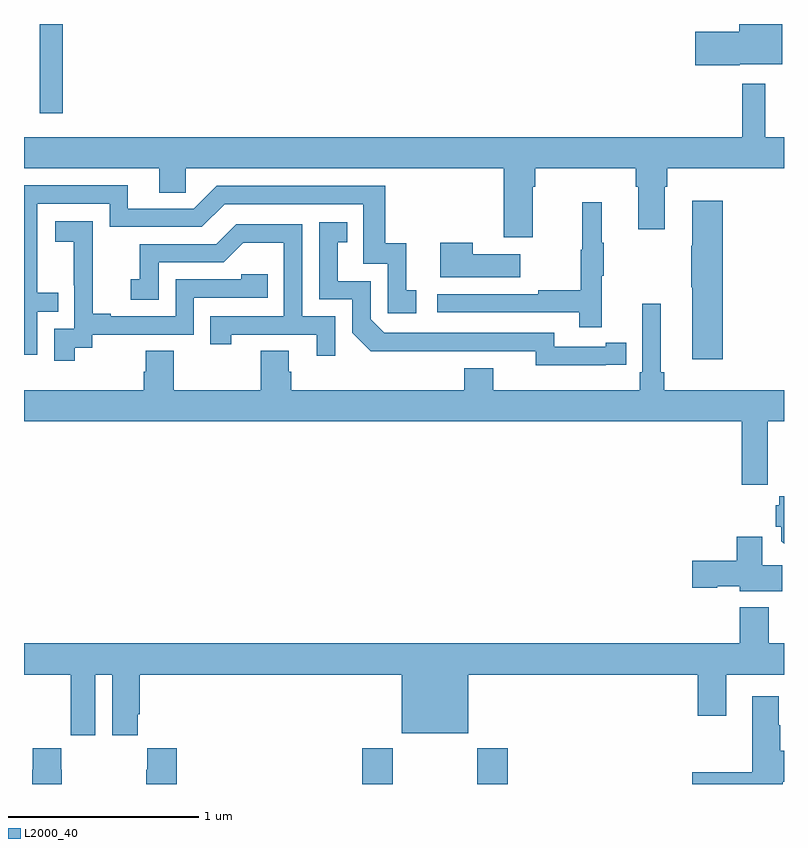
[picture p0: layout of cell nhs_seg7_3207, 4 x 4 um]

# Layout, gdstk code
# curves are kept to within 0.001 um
import gdstk
lib = gdstk.Library(unit=1e-6, precision=1e-09)
def R(c, l, rs):  # rectangles x0, y0, x1, y1
    for r in rs: c.add(gdstk.rectangle(r[:2], r[2:], *l))
def P(c, l, *ps):  # polygons
    for p in ps: c.add(gdstk.Polygon(p, *l))
L2000_40 = (2000, 40)

nhs_seg7_3207 = lib.new_cell('nhs_seg7_3207')
R(nhs_seg7_3207, L2000_40, [(316.781,1040,316.941,1040.188), (317.386,1040,317.546,1040.188), (315.083,1043.529,315.205,1044)])
P(nhs_seg7_3207, L2000_40, [(318.768,1043.789),(318.991,1043.789),(318.991,1044),(318.764,1044),(318.764,1043.96),(318.534,1043.96),(318.534,1043.782),(318.768,1043.782)],
  [(317.677,1043.144),(317.69,1043.144),(317.69,1043.24),(318.221,1043.24),(318.221,1043.144),(318.233,1043.144),(318.233,1042.92),(318.373,1042.92),(318.373,1043.144),(318.386,1043.144),(318.386,1043.24),(319,1043.24),(319,1043.404),(318.901,1043.404),(318.901,1043.686),(318.78,1043.686),(318.78,1043.404),(315,1043.404),(315,1043.24),(315.713,1043.24),(315.713,1043.113),(315.852,1043.113),(315.852,1043.24),(317.525,1043.24),(317.525,1042.878),(317.677,1042.878)],
  [(315.069,1042.485),(315.179,1042.485),(315.179,1042.586),(315.069,1042.586),(315.069,1043.055),(315.45,1043.055),(315.45,1042.932),(315.936,1042.932),(316.056,1043.052),(316.785,1043.052),(316.785,1042.737),(316.914,1042.737),(316.914,1042.478),(317.065,1042.478),(317.065,1042.599),(317.012,1042.599),(317.012,1042.846),(316.901,1042.846),(316.901,1043.148),(316.014,1043.148),(315.894,1043.028),(315.547,1043.028),(315.547,1043.151),(315,1043.151),(315,1042.26),(315.069,1042.26)],
  [(318.677,1043.071),(318.518,1043.071),(318.518,1042.832),(318.511,1042.832),(318.511,1042.615),(318.518,1042.615),(318.518,1042.236),(318.677,1042.236)],
  [(318.041,1042.675),(318.052,1042.675),(318.052,1042.849),(318.041,1042.849),(318.041,1043.062),(317.938,1043.062),(317.938,1042.812),(317.931,1042.812),(317.931,1042.598),(317.707,1042.598),(317.707,1042.578),(317.175,1042.578),(317.175,1042.482),(317.923,1042.482),(317.923,1042.404),(318.041,1042.404)],
  [(315.268,1042.297),(315.36,1042.297),(315.36,1042.365),(315.894,1042.365),(315.894,1042.56),(316.283,1042.56),(316.283,1042.683),(316.143,1042.683),(316.143,1042.656),(315.798,1042.656),(315.798,1042.461),(315.457,1042.461),(315.457,1042.474),(315.362,1042.474),(315.362,1042.757),(315.363,1042.757),(315.363,1042.963),(315.165,1042.963),(315.165,1042.853),(315.263,1042.853),(315.263,1042.625),(315.264,1042.625),(315.264,1042.395),(315.159,1042.395),(315.159,1042.227),(315.268,1042.227)],
  [(318.062,1042.206),(318.17,1042.206),(318.17,1042.322),(318.062,1042.322),(318.062,1042.302),(317.79,1042.302),(317.79,1042.374),(316.896,1042.374),(316.824,1042.446),(316.824,1042.647),(316.651,1042.647),(316.651,1042.851),(316.7,1042.851),(316.7,1042.957),(316.554,1042.957),(316.554,1042.551),(316.728,1042.551),(316.728,1042.374),(316.826,1042.277),(317.694,1042.278),(317.694,1042.205)],
  [(316.638,1042.461),(316.464,1042.461),(316.464,1042.947),(316.118,1042.947),(316.013,1042.842),(315.61,1042.842),(315.61,1042.657),(315.561,1042.657),(315.561,1042.548),(315.708,1042.548),(315.708,1042.746),(316.05,1042.746),(316.154,1042.85),(316.368,1042.85),(316.368,1042.461),(315.979,1042.461),(315.979,1042.314),(316.09,1042.314),(316.09,1042.365),(316.541,1042.365),(316.541,1042.254),(316.638,1042.254)],
  [(317.611,1042.789),(317.363,1042.789),(317.363,1042.849),(317.192,1042.849),(317.192,1042.667),(317.611,1042.667)],
  [(318.914,1041.908),(319,1041.908),(319,1042.072),(318.371,1042.072),(318.371,1042.168),(318.352,1042.168),(318.352,1042.528),(318.255,1042.528),(318.255,1042.168),(318.242,1042.168),(318.242,1042.072),(317.47,1042.072),(317.47,1042.189),(317.318,1042.189),(317.318,1042.072),(316.406,1042.072),(316.406,1042.17),(316.393,1042.17),(316.393,1042.28),(316.246,1042.28),(316.246,1042.072),(315.789,1042.072),(315.789,1042.28),(315.641,1042.28),(315.641,1042.17),(315.629,1042.17),(315.629,1042.072),(315,1042.072),(315,1041.908),(318.778,1041.908),(318.778,1041.576),(318.914,1041.576)],
  [(319,1041.514),(318.974,1041.514),(318.974,1041.468),(318.956,1041.468),(318.956,1041.354),(318.986,1041.354),(318.986,1041.278),(319,1041.264)],
  [(318.991,1041.152),(318.886,1041.152),(318.886,1041.301),(318.752,1041.301),(318.752,1041.176),(318.516,1041.176),(318.516,1041.034),(318.648,1041.034),(318.648,1041.041),(318.768,1041.041),(318.768,1041.014),(318.991,1041.014)],
  [(315.376,1040.576),(315.464,1040.576),(315.464,1040.256),(315.598,1040.256),(315.598,1040.368),(315.608,1040.368),(315.608,1040.576),(316.988,1040.576),(316.988,1040.267),(317.338,1040.267),(317.338,1040.576),(318.545,1040.576),(318.545,1040.358),(318.697,1040.358),(318.697,1040.576),(319,1040.576),(319,1040.74),(318.919,1040.74),(318.919,1040.929),(318.767,1040.929),(318.767,1040.74),(315,1040.74),(315,1040.576),(315.245,1040.576),(315.245,1040.368),(315.246,1040.368),(315.246,1040.256),(315.376,1040.256)],
  [(318.993,1040.012),(319,1040.012),(319,1040.176),(318.981,1040.176),(318.981,1040.31),(318.973,1040.31),(318.973,1040.461),(318.833,1040.461),(318.833,1040.061),(318.516,1040.061),(318.516,1040),(318.993,1040)],
  [(315.198,1040.075),(315.195,1040.075),(315.195,1040.188),(315.045,1040.188),(315.045,1040.075),(315.043,1040.075),(315.043,1040),(315.198,1040)],
  [(315.803,1040.188),(315.649,1040.188),(315.649,1040.075),(315.643,1040.075),(315.643,1040),(315.803,1040)])

lib.write_gds('nhs_seg7_3207.gds')
